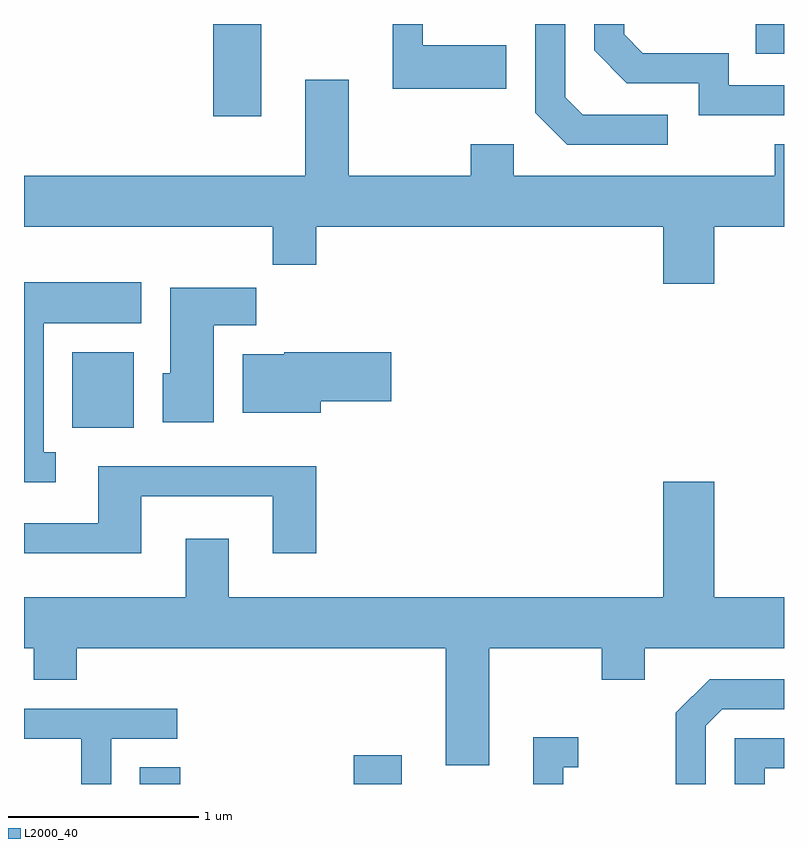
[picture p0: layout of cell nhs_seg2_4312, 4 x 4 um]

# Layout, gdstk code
import gdstk
lib = gdstk.Library(unit=1e-6, precision=1e-09)
def R(c, l, rs):  # rectangles x0, y0, x1, y1
    for r in rs: c.add(gdstk.rectangle(r[:2], r[2:], *l))
def P(c, l, *ps):  # polygons
    for p in ps: c.add(gdstk.Polygon(p, *l))
L2000_40 = (2000, 40)

nhs_seg2_4312 = lib.new_cell('nhs_seg2_4312')
R(nhs_seg2_4312, L2000_40, [(312.221,1069.802,312.434,1069.889), (313.346,1069.802,313.599,1069.954), (311.866,1071.676,312.189,1072.074), (312.606,1073.316,312.859,1073.802), (315.463,1073.646,315.611,1073.802)])
P(nhs_seg2_4312, L2000_40, [(314.149,1073.689),(313.709,1073.689),(313.709,1073.802),(313.551,1073.802),(313.551,1073.461),(314.149,1073.461)],
  [(315.611,1073.479),(315.319,1073.479),(315.319,1073.649),(314.867,1073.649),(314.769,1073.747),(314.769,1073.802),(314.611,1073.802),(314.611,1073.664),(314.784,1073.491),(315.161,1073.491),(315.161,1073.321),(315.611,1073.321)],
  [(314.998,1073.324),(314.552,1073.324),(314.459,1073.417),(314.459,1073.802),(314.301,1073.802),(314.301,1073.334),(314.469,1073.166),(314.998,1073.166)],
  [(315.244,1072.736),(315.611,1072.736),(315.611,1073.169),(315.561,1073.169),(315.561,1073.004),(314.189,1073.004),(314.189,1073.169),(313.961,1073.169),(313.961,1073.004),(313.319,1073.004),(313.319,1073.509),(313.091,1073.509),(313.091,1073.004),(311.611,1073.004),(311.611,1072.736),(312.921,1072.736),(312.921,1072.536),(313.149,1072.536),(313.149,1072.736),(314.976,1072.736),(314.976,1072.436),(315.244,1072.436)],
  [(311.778,1071.549),(311.714,1071.549),(311.714,1072.226),(312.229,1072.226),(312.229,1072.444),(311.611,1072.444),(311.611,1071.391),(311.778,1071.391)],
  [(312.609,1072.216),(312.834,1072.216),(312.834,1072.414),(312.381,1072.414),(312.381,1071.964),(312.341,1071.964),(312.341,1071.706),(312.609,1071.706)],
  [(313.174,1071.816),(313.544,1071.816),(313.544,1072.074),(312.98,1072.074),(312.98,1072.064),(312.761,1072.064),(312.761,1071.756),(313.174,1071.756)],
  [(312.229,1071.316),(312.921,1071.316),(312.921,1071.016),(313.149,1071.016),(313.149,1071.474),(312.001,1071.474),(312.001,1071.174),(311.611,1071.174),(311.611,1071.016),(312.229,1071.016)],
  [(314.059,1070.516),(314.651,1070.516),(314.651,1070.351),(314.879,1070.351),(314.879,1070.516),(315.611,1070.516),(315.611,1070.784),(315.244,1070.784),(315.244,1071.394),(314.976,1071.394),(314.976,1070.784),(312.689,1070.784),(312.689,1071.094),(312.461,1071.094),(312.461,1070.784),(311.611,1070.784),(311.611,1070.516),(311.661,1070.516),(311.661,1070.351),(311.889,1070.351),(311.889,1070.516),(313.831,1070.516),(313.831,1069.901),(314.059,1069.901)],
  [(315.199,1070.109),(315.287,1070.196),(315.611,1070.196),(315.611,1070.354),(315.219,1070.354),(315.041,1070.177),(315.041,1069.802),(315.199,1069.802)],
  [(312.069,1070.041),(312.418,1070.041),(312.418,1070.199),(311.611,1070.199),(311.611,1070.041),(311.911,1070.041),(311.911,1069.802),(312.069,1069.802)],
  [(314.449,1069.891),(314.528,1069.891),(314.528,1070.049),(314.291,1070.049),(314.291,1069.802),(314.449,1069.802)],
  [(315.509,1069.886),(315.611,1069.886),(315.611,1070.044),(315.351,1070.044),(315.351,1069.802),(315.509,1069.802)])

lib.write_gds('nhs_seg2_4312.gds')
